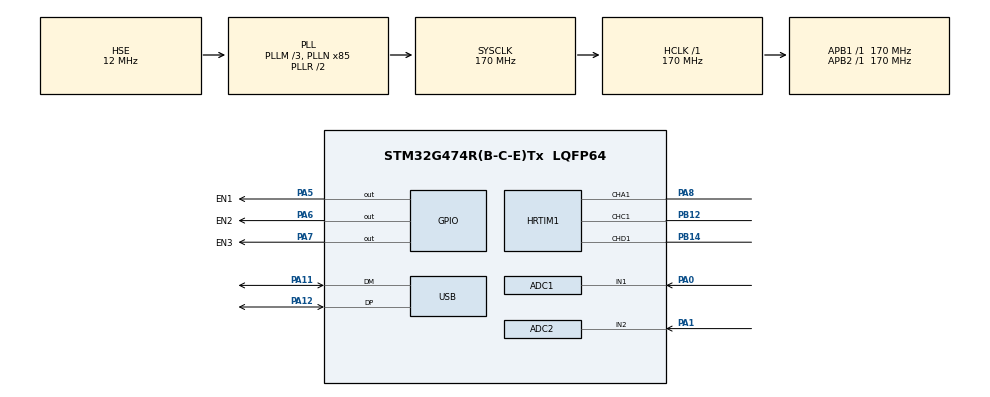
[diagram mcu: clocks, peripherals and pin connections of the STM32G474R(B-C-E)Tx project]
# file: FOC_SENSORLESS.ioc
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ADC1.Channel-0\#ChannelRegularConversion=ADC_CHANNEL_1
ADC1.Channel-1\#ChannelRegularConversion=ADC_CHANNEL_VREFINT
ADC1.EnableInjectedConversion=ENABLE
ADC1.EnableInjectedOversampling=DISABLE
ADC1.ExternalTrigInjecConv=ADC_EXTERNALTRIGINJEC_HRTIM_TRG4
ADC1.InjNumberOfConversion=1
ADC1.InjectedChannel-3\#ChannelInjectedConversion=ADC_CHANNEL_1
ADC1.InjectedOffsetNumber-3\#ChannelInjectedConversion=ADC_OFFSET_NONE
ADC1.InjectedRank-3\#ChannelInjectedConversion=1
ADC1.InjectedSamplingTime-3\#ChannelInjectedConversion=ADC_SAMPLETIME_12CYCLES_5
ADC1.NbrOfConversion=2
ADC1.NbrOfConversionFlag=1
ADC1.OffsetNumber-0\#ChannelRegularConversion=ADC_OFFSET_NONE
ADC1.OffsetNumber-1\#ChannelRegularConversion=ADC_OFFSET_NONE
ADC1.Rank-0\#ChannelRegularConversion=1
ADC1.Rank-1\#ChannelRegularConversion=2
ADC1.Rank2_Channel=ADC_CHANNEL_2
ADC1.SamplingTime-0\#ChannelRegularConversion=ADC_SAMPLETIME_47CYCLES_5
ADC1.SamplingTime-1\#ChannelRegularConversion=ADC_SAMPLETIME_47CYCLES_5
ADC1.master=1
ADC2.Channel-1\#ChannelRegularConversion=ADC_CHANNEL_2
ADC2.EnableInjectedConversion=ENABLE
ADC2.EnableRegularConversion=ENABLE
ADC2.ExternalTrigInjecConv=ADC_EXTERNALTRIGINJEC_HRTIM_TRG4
ADC2.InjNumberOfConversion=1
ADC2.InjectedChannel-2\#ChannelInjectedConversion=ADC_CHANNEL_2
ADC2.InjectedOffsetNumber-2\#ChannelInjectedConversion=ADC_OFFSET_NONE
ADC2.InjectedRank-2\#ChannelInjectedConversion=1
ADC2.InjectedSamplingTime-2\#ChannelInjectedConversion=ADC_SAMPLETIME_12CYCLES_5
ADC2.NbrOfConversionFlag=1
ADC2.OffsetNumber-1\#ChannelRegularConversion=ADC_OFFSET_NONE
ADC2.Rank-1\#ChannelRegularConversion=1
ADC2.Rank1_Channel=ADC_CHANNEL_2
ADC2.SamplingTime-1\#ChannelRegularConversion=ADC_SAMPLETIME_47CYCLES_5
Dma.ADC1.0.Direction=DMA_PERIPH_TO_MEMORY
Dma.ADC1.0.EventEnable=DISABLE
Dma.ADC1.0.Instance=DMA1_Channel1
Dma.ADC1.0.MemDataAlignment=DMA_MDATAALIGN_HALFWORD
Dma.ADC1.0.MemInc=DMA_MINC_ENABLE
Dma.ADC1.0.Mode=DMA_NORMAL
Dma.ADC1.0.PeriphDataAlignment=DMA_PDATAALIGN_HALFWORD
Dma.ADC1.0.PeriphInc=DMA_PINC_DISABLE
Dma.ADC1.0.Polarity=HAL_DMAMUX_REQ_GEN_RISING
Dma.ADC1.0.Priority=DMA_PRIORITY_LOW
Dma.ADC1.0.RequestNumber=1
Dma.ADC1.0.SignalID=NONE
Dma.ADC1.0.SyncEnable=DISABLE
Dma.ADC1.0.SyncPolarity=HAL_DMAMUX_SYNC_NO_EVENT
Dma.ADC1.0.SyncRequestNumber=1
Dma.ADC1.0.SyncSignalID=NONE
Dma.Request0=ADC1
HRTIM1.ADCTrigger4_Source1=HRTIM_ADCTRIGGEREVENT24_MASTER_PERIOD
HRTIM1.ADCTrigger4_Source2=HRTIM_ADCTRIGGEREVENT24_MASTER_PERIOD
HRTIM1.ADCTrigger_Id1=__NULL
HRTIM1.ADCTrigger_Id2=__NULL
HRTIM1.ADCTrigger_Id4=HRTIM_ADCTRIGGER_4
HRTIM1.CompareUnit1-Output_TA1=HRTIM_COMPAREUNIT_1
HRTIM1.CompareUnit1-Output_TC1=HRTIM_COMPAREUNIT_1
HRTIM1.CompareUnit1-Output_TD1=HRTIM_COMPAREUNIT_1
HRTIM1.CompareValue1-Output_TA1=1000
HRTIM1.CompareValue1-Output_TC1=1000
HRTIM1.CompareValue1-Output_TD1=1000
HRTIM1.ModeTimeBase-Output_TA1=HRTIM_MODE_CONTINUOUS
HRTIM1.ModeTimeBase-Output_TC1=HRTIM_MODE_CONTINUOUS
HRTIM1.ModeTimeBase-Output_TD1=HRTIM_MODE_CONTINUOUS
HRTIM1.NumberADCTriggerSource4=2
HRTIM1.NumberResetSource1-Output_TA1=1
HRTIM1.NumberResetSource1-Output_TC1=1
HRTIM1.NumberResetSource1-Output_TD1=1
HRTIM1.NumberResetTrigger-Output_TA1=1
HRTIM1.NumberResetTrigger-Output_TC1=1
HRTIM1.NumberResetTrigger-Output_TD1=1
HRTIM1.NumberSetSource1-Output_TA1=1
HRTIM1.NumberSetSource1-Output_TC1=1
HRTIM1.NumberSetSource1-Output_TD1=1
HRTIM1.Periode_MASTER=34000
HRTIM1.Periode_TA=34000
HRTIM1.Periode_TC=34000
HRTIM1.Periode_TD=34000
HRTIM1.Polarity1-Output_TA1=HRTIM_OUTPUTPOLARITY_LOW
HRTIM1.Polarity1-Output_TC1=HRTIM_OUTPUTPOLARITY_LOW
HRTIM1.Polarity1-Output_TD1=HRTIM_OUTPUTPOLARITY_LOW
HRTIM1.PreloadEnable-Output_TA1=HRTIM_PRELOAD_ENABLED
HRTIM1.PreloadEnable-Output_TC1=HRTIM_PRELOAD_ENABLED
HRTIM1.PreloadEnable-Output_TD1=HRTIM_PRELOAD_ENABLED
HRTIM1.PrescalerRatio_MASTER=HRTIM_PRESCALERRATIO_MUL4
HRTIM1.PrescalerRatio_TA=HRTIM_PRESCALERRATIO_MUL8
HRTIM1.PrescalerRatio_TC=HRTIM_PRESCALERRATIO_MUL8
HRTIM1.PrescalerRatio_TD=HRTIM_PRESCALERRATIO_MUL8
HRTIM1.RepetitionUpdate-MasterTimer=HRTIM_UPDATEONREPETITION_ENABLED
HRTIM1.RepetitionUpdate-Output_TA1=HRTIM_UPDATEONREPETITION_ENABLED
HRTIM1.RepetitionUpdate-Output_TC1=HRTIM_UPDATEONREPETITION_ENABLED
HRTIM1.RepetitionUpdate-Output_TD1=HRTIM_UPDATEONREPETITION_ENABLED
HRTIM1.ResetOutput1_Source1-Output_TA1=HRTIM_OUTPUTRESET_TIMCMP1
HRTIM1.ResetOutput1_Source1-Output_TC1=HRTIM_OUTPUTRESET_TIMCMP1
HRTIM1.ResetOutput1_Source1-Output_TD1=HRTIM_OUTPUTRESET_TIMCMP1
HRTIM1.ResetTrigger1-Output_TA1=HRTIM_TIMRESETTRIGGER_MASTER_PER
HRTIM1.ResetTrigger1-Output_TC1=HRTIM_TIMRESETTRIGGER_MASTER_PER
HRTIM1.ResetTrigger1-Output_TD1=HRTIM_TIMRESETTRIGGER_MASTER_PER
HRTIM1.SetOutput1_Source1-Output_TA1=HRTIM_OUTPUTSET_TIMCMP1
HRTIM1.SetOutput1_Source1-Output_TC1=HRTIM_OUTPUTSET_TIMCMP1
HRTIM1.SetOutput1_Source1-Output_TD1=HRTIM_OUTPUTSET_TIMCMP1
HRTIM1.UpDownMode-Output_TA1=HRTIM_TIMERUPDOWNMODE_UPDOWN
HRTIM1.UpDownMode-Output_TC1=HRTIM_TIMERUPDOWNMODE_UPDOWN
HRTIM1.UpDownMode-Output_TD1=HRTIM_TIMERUPDOWNMODE_UPDOWN
Mcu.Family=STM32G4
Mcu.Name=STM32G474R(B-C-E)Tx
Mcu.Package=LQFP64
NVIC.ADC1_2_IRQn=true\:0\:0\:false\:false\:true\:true\:true\:true
NVIC.DMA1_Channel1_IRQn=true\:2\:0\:true\:false\:true\:false\:true\:true
NVIC.PriorityGroup=NVIC_PRIORITYGROUP_4
NVIC.USB_LP_IRQn=true\:0\:0\:false\:false\:true\:false\:true\:true
PA0.Mode=IN1-Single-Ended
PA0.Signal=ADC1_IN1
PA1.Mode=IN2-Single-Ended
PA1.Signal=ADC2_IN2
PA11.Mode=Device
PA11.Signal=USB_DM
PA12.Mode=Device
PA12.Signal=USB_DP
PA13.Mode=Serial_Wire
PA13.Signal=SYS_JTMS-SWDIO
PA14.Mode=Serial_Wire
PA14.Signal=SYS_JTCK-SWCLK
PA5.GPIO_Label=EN1
PA5.Signal=GPIO_Output
PA6.GPIO_Label=EN2
PA6.Signal=GPIO_Output
PA7.GPIO_Label=EN3
PA7.Signal=GPIO_Output
PA8.Mode=Output_TA1
PA8.Signal=HRTIM1_CHA1
PB12.Mode=Output_TC1
PB12.Signal=HRTIM1_CHC1
PB14.Mode=Output_TD1
PB14.Signal=HRTIM1_CHD1
PC14-OSC32_IN.Mode=LSE-External-Oscillator
PC14-OSC32_IN.Signal=RCC_OSC32_IN
PC15-OSC32_OUT.Mode=LSE-External-Oscillator
PC15-OSC32_OUT.Signal=RCC_OSC32_OUT
PF0-OSC_IN.Mode=HSE-External-Oscillator
PF0-OSC_IN.Signal=RCC_OSC_IN
PF1-OSC_OUT.Mode=HSE-External-Oscillator
PF1-OSC_OUT.Signal=RCC_OSC_OUT
ProjectManager.HeapSize=0x200
ProjectManager.StackSize=0x400
ProjectManager.TargetToolchain=MDK-ARM V5.32
RCC.ADC12Freq_Value=170000000
RCC.ADC345Freq_Value=170000000
RCC.AHBFreq_Value=170000000
RCC.APB1Freq_Value=170000000
RCC.APB1TimFreq_Value=170000000
RCC.APB2Freq_Value=170000000
RCC.APB2TimFreq_Value=170000000
RCC.CK48CLockSelection=RCC_USBCLKSOURCE_HSI48
RCC.CortexFreq_Value=170000000
RCC.EXTERNAL_CLOCK_VALUE=12288000
RCC.HCLKFreq_Value=170000000
RCC.HSE_VALUE=12000000
RCC.HSI48_VALUE=48000000
RCC.HSI_VALUE=16000000
RCC.PLLM=RCC_PLLM_DIV3
RCC.PLLN=85
RCC.PLLSourceVirtual=RCC_PLLSOURCE_HSE
RCC.SYSCLKFreq_VALUE=170000000
RCC.SYSCLKSource=RCC_SYSCLKSOURCE_PLLCLK
RCC.USBFreq_Value=48000000
RCC.VCOOutputFreq_Value=340000000
STMicroelectronics.X-CUBE-ALGOBUILD.1.4.0.LibraryCcDSPOoLibraryJjDSPOoLibrary=true
USB_DEVICE.CLASS_NAME_FS=CDC
USB_DEVICE.VirtualMode=Cdc
USB_DEVICE.VirtualModeFS=Cdc_FS
VP_ADC1_Vref_Input.Mode=IN-Vrefint
VP_CORDIC_VS_CORDIC.Mode=CORDIC_Activate
VP_HRTIM1_VS_hrtimMasterTimerNoOutput.Mode=MasterTimer
VP_STMicroelectronics.X-CUBE-ALGOBUILD_VS_DSPOoLibraryJjLibrary_1.4.0_1.4.0.Mode=DSPOoLibraryJjLibrary
VP_SYS_VS_DBSignals.Mode=DisableDeadBatterySignals
VP_USB_DEVICE_VS_USB_DEVICE_CDC_FS.Mode=CDC_FS
board=custom

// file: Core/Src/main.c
/* USER CODE BEGIN Header */
/**
  ******************************************************************************
  * @file           : main.c
  * @brief          : Main program body
  ******************************************************************************
  * @attention
  *
  * Copyright (c) 2026 STMicroelectronics.
  * All rights reserved.
  *
  * This software is licensed under terms that can be found in the LICENSE file
  * in the root directory of this software component.
  * If no LICENSE file comes with this software, it is provided AS-IS.
  *
  ******************************************************************************
  */
/* USER CODE END Header */
#include "main.h"
#include "adc.h"
#include "cordic.h"
#include "dma.h"
#include "hrtim.h"
#include "usb_device.h"
#include "gpio.h"

/* USER CODE BEGIN Includes */
#include "other.h"
#include "PMSM_Control_Core/SVPWM.h"
#include "PMSM_Control_Core/Clarke_Park.h"
#include "PMSM_Control_Core/EKF.h"
#include "PMSM_Control_Core/PI_Controller.h"
#include "PMSM_Control_Core/Hardware.h"
#include "PMSM_Control_Core/FluxObserver_PLL.h"
/* USER CODE END Includes */

void SystemClock_Config(void);

int main(void)
{

  /* MCU Configuration--------------------------------------------------------*/

  /* Reset of all peripherals, Initializes the Flash interface and the Systick. */
  HAL_Init();

  /* Configure the system clock */
  SystemClock_Config();

  /* Initialize all configured peripherals */
  MX_GPIO_Init();
  MX_DMA_Init();
  MX_CORDIC_Init();
  MX_HRTIM1_Init();
  MX_ADC1_Init();
  MX_USB_Device_Init();
  MX_ADC2_Init();
  /* USER CODE BEGIN 2 */
  //初始化EKF
  EKF_init();
  //初始化FluxObserver
  FluxObserver_init();
  //ADC单端输入校准
  __HAL_RCC_ADC12_CLK_ENABLE();
  if (HAL_ADCEx_Calibration_Start(&hadc1, ADC_SINGLE_ENDED) != HAL_OK)Error_Handler();
  if (HAL_ADCEx_Calibration_Start(&hadc2, ADC_SINGLE_ENDED) != HAL_OK)Error_Handler();
  //离线Ia,Ib,Vcc偏置ADC值校正
  Offline_IabVcc_Adjust();

  //给定D轴电流为0(事实上自动初始化为0，不需要人为给定)
  Id_PIstate.Set=0;
  //开启注入转换结束标志
  LL_ADC_EnableIT_JEOS(ADC1);
  LL_ADC_EnableIT_JEOS(ADC2);
  // 启动ADC注入通道
  HAL_ADCEx_InjectedStart(&hadc1);
  __HAL_ADC_ENABLE_IT(&hadc1, ADC_IT_JEOC); //注入转换结束中断
  HAL_ADCEx_InjectedStart(&hadc2);
  __HAL_ADC_ENABLE_IT(&hadc2, ADC_IT_JEOC); //注入转换结束中断

  //开启定时器
  HAL_HRTIM_WaveformCountStart(&hhrtim1,HRTIM_TIMERID_MASTER
    |HRTIM_TIMERID_TIMER_A|HRTIM_TIMERID_TIMER_C|HRTIM_TIMERID_TIMER_D);
  //开启通道输出，随便给定一个初始值
  HAL_HRTIM_WaveformOutputStart(&hhrtim1,
    HRTIM_OUTPUT_TA1|HRTIM_OUTPUT_TC1|HRTIM_OUTPUT_TD1);
  HRTIM_Set_PWMCompare(10000,15000,20000);
  // EN引脚使能
  HAL_GPIO_WritePin(EN1_GPIO_Port,EN1_Pin,GPIO_PIN_SET);
  HAL_GPIO_WritePin(EN2_GPIO_Port,EN2_Pin,GPIO_PIN_SET);
  HAL_GPIO_WritePin(EN3_GPIO_Port,EN3_Pin,GPIO_PIN_SET);
  //测试：
  GiveESpeed(1000);
  /* USER CODE END 2 */

  /* Infinite loop */
  while (1)
  {

  }
}

void SystemClock_Config(void)
{
  RCC_OscInitTypeDef RCC_OscInitStruct = {0};
  RCC_ClkInitTypeDef RCC_ClkInitStruct = {0};

  /** Configure the main internal regulator output voltage
  */
  HAL_PWREx_ControlVoltageScaling(PWR_REGULATOR_VOLTAGE_SCALE1_BOOST);

  /** Initializes the RCC Oscillators according to the specified parameters
  * in the RCC_OscInitTypeDef structure.
  */
  RCC_OscInitStruct.OscillatorType = RCC_OSCILLATORTYPE_HSI48|RCC_OSCILLATORTYPE_HSE;
  RCC_OscInitStruct.HSEState = RCC_HSE_ON;
  RCC_OscInitStruct.HSI48State = RCC_HSI48_ON;
  RCC_OscInitStruct.PLL.PLLState = RCC_PLL_ON;
  RCC_OscInitStruct.PLL.PLLSource = RCC_PLLSOURCE_HSE;
  RCC_OscInitStruct.PLL.PLLM = RCC_PLLM_DIV3;
  RCC_OscInitStruct.PLL.PLLN = 85;
  RCC_OscInitStruct.PLL.PLLP = RCC_PLLP_DIV2;
  RCC_OscInitStruct.PLL.PLLQ = RCC_PLLQ_DIV2;
  RCC_OscInitStruct.PLL.PLLR = RCC_PLLR_DIV2;
  if (HAL_RCC_OscConfig(&RCC_OscInitStruct) != HAL_OK)
  {
    Error_Handler();
  }

  /** Initializes the CPU, AHB and APB buses clocks
  */
  RCC_ClkInitStruct.ClockType = RCC_CLOCKTYPE_HCLK|RCC_CLOCKTYPE_SYSCLK
                              |RCC_CLOCKTYPE_PCLK1|RCC_CLOCKTYPE_PCLK2;
  RCC_ClkInitStruct.SYSCLKSource = RCC_SYSCLKSOURCE_PLLCLK;
  RCC_ClkInitStruct.AHBCLKDivider = RCC_SYSCLK_DIV1;
  RCC_ClkInitStruct.APB1CLKDivider = RCC_HCLK_DIV1;
  RCC_ClkInitStruct.APB2CLKDivider = RCC_HCLK_DIV1;

  if (HAL_RCC_ClockConfig(&RCC_ClkInitStruct, FLASH_LATENCY_4) != HAL_OK)
  {
    Error_Handler();
  }
}

void Error_Handler(void)
{
  __disable_irq();
  while (1)
  {
  }
}
